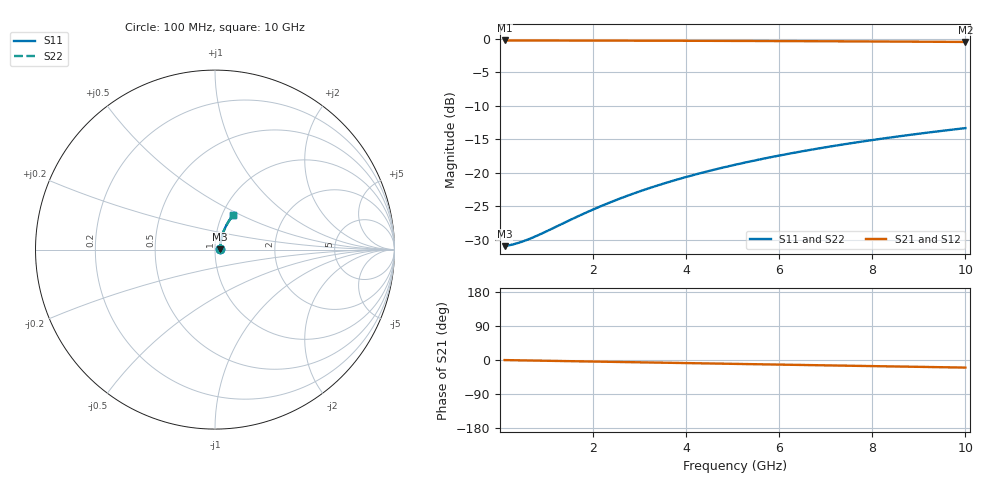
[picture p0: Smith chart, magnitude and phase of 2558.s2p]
# Hz S RI R 50.00
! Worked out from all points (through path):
!   100 points, 100 MHz to 10 GHz, reference 50 ohm
!   highest |S21| = -0.25 dB at 100 MHz (marker M1); lowest = -0.5 dB at 10 GHz (marker M2)
!   group delay of S21, straight-line fit = 5.57 ps
!   lowest |S11| = -31.0 dB at 100 MHz (marker M3), VSWR 1.06, Z = 52.9 + j0.224 ohm
!   |S11| at or under -10 dB: start of sweep to end of sweep
!   |S22| runs from -31.0 to -13.3 dB; largest |S21 - S12| = 0
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1e8  0.0282 0.00211  0.9718 -0.00345  0.9718 -0.00345  0.0282 0.00211
3e8  0.0285 0.00634  0.9715 -0.0104  0.9715 -0.0104  0.0285 0.00634
4e8  0.0287 0.00844  0.9713 -0.0138  0.9713 -0.0138  0.0287 0.00844
5e8  0.0288 0.0106  0.9711 -0.0172  0.9711 -0.0172  0.0288 0.0106
7e8  0.0292 0.0148  0.9708 -0.0241  0.9708 -0.0241  0.0292 0.0148
1e9  0.0297 0.0211  0.9702 -0.0345  0.9702 -0.0345  0.0297 0.0211
1.8e9  0.0318 0.0378  0.9679 -0.0619  0.9679 -0.0619  0.0318 0.0378
2.2e9  0.0331 0.0461  0.9665 -0.0756  0.9665 -0.0756  0.0331 0.0461
2.6e9  0.0346 0.0544  0.9647 -0.0892  0.9647 -0.0892  0.0346 0.0544
3e9  0.0364 0.0626  0.9627 -0.1028  0.9627 -0.1028  0.0364 0.0626
3.4e9  0.0384 0.0707  0.9605 -0.1163  0.9605 -0.1163  0.0384 0.0707
3.8e9  0.0406 0.0788  0.958 -0.1297  0.958 -0.1297  0.0406 0.0788
4.2e9  0.043 0.0868  0.9553 -0.1431  0.9553 -0.1431  0.043 0.0868
4.6e9  0.0457 0.0947  0.9523 -0.1563  0.9523 -0.1563  0.0457 0.0947
5.1e9  0.0493 0.1045  0.9483 -0.1728  0.9483 -0.1728  0.0493 0.1045
5.5e9  0.0524 0.1122  0.9448 -0.1859  0.9448 -0.1859  0.0524 0.1122
5.9e9  0.0557 0.1198  0.941 -0.1988  0.941 -0.1988  0.0557 0.1198
6.7e9  0.063 0.1346  0.9328 -0.2244  0.9328 -0.2244  0.063 0.1346
7.5e9  0.0711 0.1489  0.9237 -0.2495  0.9237 -0.2495  0.0711 0.1489
8.4e9  0.081 0.1644  0.9125 -0.2771  0.9125 -0.2771  0.081 0.1644
9.2e9  0.0905 0.1775  0.9016 -0.301  0.9016 -0.301  0.0905 0.1775
1e10  0.1007 0.1901  0.89 -0.3243  0.89 -0.3243  0.1007 0.1901
